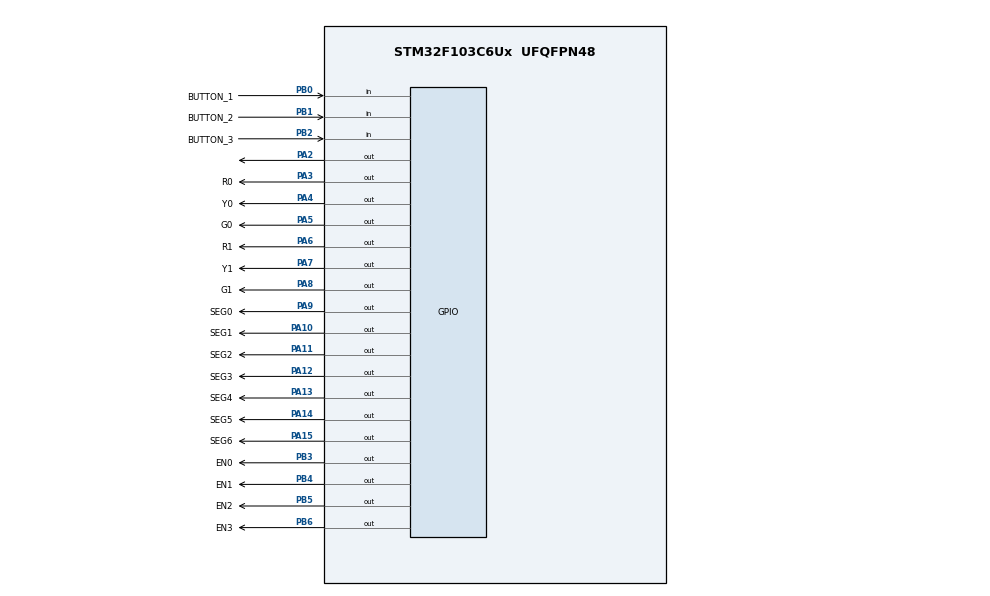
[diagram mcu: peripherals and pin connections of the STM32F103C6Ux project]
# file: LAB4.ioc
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Mcu.Family=STM32F1
Mcu.Name=STM32F103C6Ux
Mcu.Package=UFQFPN48
NVIC.PriorityGroup=NVIC_PRIORITYGROUP_4
NVIC.TIM2_IRQn=true\:0\:0\:false\:false\:true\:true\:true\:true
PA10.GPIO_Label=SEG1
PA10.Signal=GPIO_Output
PA11.GPIO_Label=SEG2
PA11.Signal=GPIO_Output
PA12.GPIO_Label=SEG3
PA12.Signal=GPIO_Output
PA13.GPIO_Label=SEG4
PA13.Signal=GPIO_Output
PA14.GPIO_Label=SEG5
PA14.Signal=GPIO_Output
PA15.GPIO_Label=SEG6
PA15.Signal=GPIO_Output
PA2.Signal=GPIO_Output
PA3.GPIO_Label=R0
PA3.Signal=GPIO_Output
PA4.GPIO_Label=Y0
PA4.Signal=GPIO_Output
PA5.GPIO_Label=G0
PA5.Signal=GPIO_Output
PA6.GPIO_Label=R1
PA6.Signal=GPIO_Output
PA7.GPIO_Label=Y1
PA7.Signal=GPIO_Output
PA8.GPIO_Label=G1
PA8.Signal=GPIO_Output
PA9.GPIO_Label=SEG0
PA9.Signal=GPIO_Output
PB0.GPIO_Label=BUTTON_1
PB0.GPIO_PuPd=GPIO_PULLUP
PB0.Signal=GPIO_Input
PB1.GPIO_Label=BUTTON_2
PB1.GPIO_PuPd=GPIO_PULLUP
PB1.Signal=GPIO_Input
PB2.GPIO_Label=BUTTON_3
PB2.GPIO_PuPd=GPIO_PULLUP
PB2.Signal=GPIO_Input
PB3.GPIO_Label=EN0
PB3.Signal=GPIO_Output
PB4.GPIO_Label=EN1
PB4.Signal=GPIO_Output
PB5.GPIO_Label=EN2
PB5.Signal=GPIO_Output
PB6.GPIO_Label=EN3
PB6.Signal=GPIO_Output
ProjectManager.HeapSize=0x200
ProjectManager.StackSize=0x400
ProjectManager.TargetToolchain=STM32CubeIDE
RCC.APB1Freq_Value=8000000
RCC.APB2Freq_Value=8000000
TIM2.Period=9
TIM2.Prescaler=7999
VP_SYS_VS_ND.Mode=No_Debug
VP_TIM2_VS_ClockSourceINT.Mode=Internal
board=custom

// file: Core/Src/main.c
/* USER CODE BEGIN Header */
/**
  ******************************************************************************
  * @file           : main.c
  * @brief          : Main program body
  ******************************************************************************
  * @attention
  *
  * <h2><center>&copy; Copyright (c) 2024 STMicroelectronics.
  * All rights reserved.</center></h2>
  *
  * This software component is licensed by ST under BSD 3-Clause license,
  * the "License"; You may not use this file except in compliance with the
  * License. You may obtain a copy of the License at:
  *                        opensource.org/licenses/BSD-3-Clause
  *
  ******************************************************************************
  */
/* USER CODE END Header */
#include "main.h"

/* USER CODE BEGIN Includes */
#include "global.h"
/* USER CODE END Includes */

TIM_HandleTypeDef htim2;

void SystemClock_Config(void);
static void MX_GPIO_Init(void);
static void MX_TIM2_Init(void);
/* USER CODE BEGIN PFP */
void led_debug();
void led_test();
/* USER CODE END PFP */

int main(void)
{

  /* MCU Configuration--------------------------------------------------------*/

  /* Reset of all peripherals, Initializes the Flash interface and the Systick. */
  HAL_Init();

  /* Configure the system clock */
  SystemClock_Config();

  /* Initialize all configured peripherals */
  MX_GPIO_Init();
  MX_TIM2_Init();
  /* USER CODE BEGIN 2 */
  HAL_TIM_Base_Start_IT (&htim2);

  /* USER CODE END 2 */

  /* Infinite loop */
  /* USER CODE BEGIN WHILE */
  SCH_Init();
  SCH_Add_Task(led_debug, 1000, 1000);
  //SCH_Add_Task(led_test, 500, 500);
  SCH_Add_Task(getKeyinput, 0, 50);
  SCH_Add_Task(fsm_auto_run, 10, 10);
  SCH_Add_Task(Scan7SEG, 10, 250);
  SCH_Add_Task(count_1_second, 10, 1000);
  while (1)
  {
	  SCH_Dispatch_Task();
    /* USER CODE END WHILE */

  }
}

void SystemClock_Config(void)
{
  RCC_OscInitTypeDef RCC_OscInitStruct = {0};
  RCC_ClkInitTypeDef RCC_ClkInitStruct = {0};

  /** Initializes the RCC Oscillators according to the specified parameters
  * in the RCC_OscInitTypeDef structure.
  */
  RCC_OscInitStruct.OscillatorType = RCC_OSCILLATORTYPE_HSI;
  RCC_OscInitStruct.HSIState = RCC_HSI_ON;
  RCC_OscInitStruct.HSICalibrationValue = RCC_HSICALIBRATION_DEFAULT;
  RCC_OscInitStruct.PLL.PLLState = RCC_PLL_NONE;
  if (HAL_RCC_OscConfig(&RCC_OscInitStruct) != HAL_OK)
  {
    Error_Handler();
  }

  /** Initializes the CPU, AHB and APB buses clocks
  */
  RCC_ClkInitStruct.ClockType = RCC_CLOCKTYPE_HCLK|RCC_CLOCKTYPE_SYSCLK
                              |RCC_CLOCKTYPE_PCLK1|RCC_CLOCKTYPE_PCLK2;
  RCC_ClkInitStruct.SYSCLKSource = RCC_SYSCLKSOURCE_HSI;
  RCC_ClkInitStruct.AHBCLKDivider = RCC_SYSCLK_DIV1;
  RCC_ClkInitStruct.APB1CLKDivider = RCC_HCLK_DIV1;
  RCC_ClkInitStruct.APB2CLKDivider = RCC_HCLK_DIV1;

  if (HAL_RCC_ClockConfig(&RCC_ClkInitStruct, FLASH_LATENCY_0) != HAL_OK)
  {
    Error_Handler();
  }
}

static void MX_TIM2_Init(void)
{

  TIM_ClockConfigTypeDef sClockSourceConfig = {0};
  TIM_MasterConfigTypeDef sMasterConfig = {0};

  htim2.Instance = TIM2;
  htim2.Init.Prescaler = 7999;
  htim2.Init.CounterMode = TIM_COUNTERMODE_UP;
  htim2.Init.Period = 9;
  htim2.Init.ClockDivision = TIM_CLOCKDIVISION_DIV1;
  htim2.Init.AutoReloadPreload = TIM_AUTORELOAD_PRELOAD_DISABLE;
  if (HAL_TIM_Base_Init(&htim2) != HAL_OK)
  {
    Error_Handler();
  }
  sClockSourceConfig.ClockSource = TIM_CLOCKSOURCE_INTERNAL;
  if (HAL_TIM_ConfigClockSource(&htim2, &sClockSourceConfig) != HAL_OK)
  {
    Error_Handler();
  }
  sMasterConfig.MasterOutputTrigger = TIM_TRGO_RESET;
  sMasterConfig.MasterSlaveMode = TIM_MASTERSLAVEMODE_DISABLE;
  if (HAL_TIMEx_MasterConfigSynchronization(&htim2, &sMasterConfig) != HAL_OK)
  {
    Error_Handler();
  }

}

static void MX_GPIO_Init(void)
{
  GPIO_InitTypeDef GPIO_InitStruct = {0};

  /* GPIO Ports Clock Enable */
  __HAL_RCC_GPIOA_CLK_ENABLE();
  __HAL_RCC_GPIOB_CLK_ENABLE();

  /*Configure GPIO pin Output Level */
  HAL_GPIO_WritePin(GPIOA, GPIO_PIN_2|R0_Pin|Y0_Pin|G0_Pin
                          |R1_Pin|Y1_Pin|G1_Pin|SEG0_Pin
                          |SEG1_Pin|SEG2_Pin|SEG3_Pin|SEG4_Pin
                          |SEG5_Pin|SEG6_Pin, GPIO_PIN_RESET);

  /*Configure GPIO pin Output Level */
  HAL_GPIO_WritePin(GPIOB, EN0_Pin|EN1_Pin|EN2_Pin|EN3_Pin, GPIO_PIN_RESET);

  /*Configure GPIO pins : PA2 R0_Pin Y0_Pin G0_Pin
                           R1_Pin Y1_Pin G1_Pin SEG0_Pin
                           SEG1_Pin SEG2_Pin SEG3_Pin SEG4_Pin
                           SEG5_Pin SEG6_Pin */
  GPIO_InitStruct.Pin = GPIO_PIN_2|R0_Pin|Y0_Pin|G0_Pin
                          |R1_Pin|Y1_Pin|G1_Pin|SEG0_Pin
                          |SEG1_Pin|SEG2_Pin|SEG3_Pin|SEG4_Pin
                          |SEG5_Pin|SEG6_Pin;
  GPIO_InitStruct.Mode = GPIO_MODE_OUTPUT_PP;
  GPIO_InitStruct.Pull = GPIO_NOPULL;
  GPIO_InitStruct.Speed = GPIO_SPEED_FREQ_LOW;
  HAL_GPIO_Init(GPIOA, &GPIO_InitStruct);

  /*Configure GPIO pins : BUTTON_1_Pin BUTTON_2_Pin BUTTON_3_Pin */
  GPIO_InitStruct.Pin = BUTTON_1_Pin|BUTTON_2_Pin|BUTTON_3_Pin;
  GPIO_InitStruct.Mode = GPIO_MODE_INPUT;
  GPIO_InitStruct.Pull = GPIO_PULLUP;
  HAL_GPIO_Init(GPIOB, &GPIO_InitStruct);

  /*Configure GPIO pins : EN0_Pin EN1_Pin EN2_Pin EN3_Pin */
  GPIO_InitStruct.Pin = EN0_Pin|EN1_Pin|EN2_Pin|EN3_Pin;
  GPIO_InitStruct.Mode = GPIO_MODE_OUTPUT_PP;
  GPIO_InitStruct.Pull = GPIO_NOPULL;
  GPIO_InitStruct.Speed = GPIO_SPEED_FREQ_LOW;
  HAL_GPIO_Init(GPIOB, &GPIO_InitStruct);

}

/* USER CODE BEGIN 4 */
void led_debug(){
	HAL_GPIO_TogglePin(GPIOA, GPIO_PIN_2);
}
void led_test(){
	HAL_GPIO_TogglePin(Y0_GPIO_Port, Y0_Pin);
}
void HAL_TIM_PeriodElapsedCallback(TIM_HandleTypeDef * htim){ // 10ms each time run
	SCH_Update();
}
/* USER CODE END 4 */

void Error_Handler(void)
{
  __disable_irq();
  while (1)
  {
  }
}
